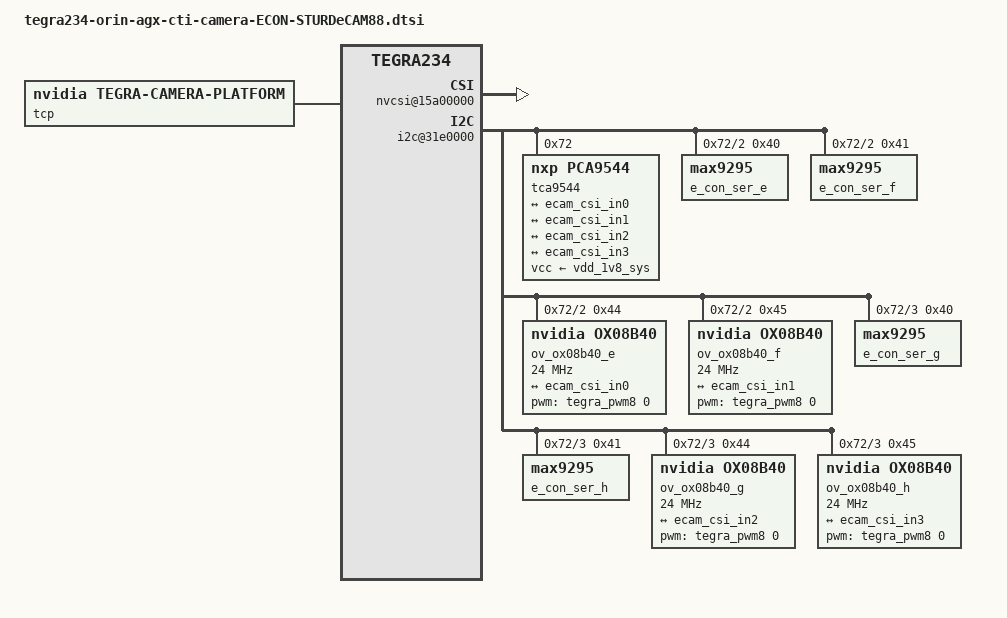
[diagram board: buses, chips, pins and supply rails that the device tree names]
#include "tegra234-orin-agx-cti-csi.dtsi"
#include "tegra234-orin-agx-cti-ECON-HEXCUXVR.dtsi"
#include <dt-bindings/media/camera.h> 
#include "dt-bindings/clock/tegra234-clock.h"


#define CAM_LANES 4
#define CAM_LANES_STRING "4"

#define PIX_CLK "276000000"
#define SERDES_PIX_CLK "300000000"

/ {
	tegra-capture-vi  {
            	num-channels = <4>;
            	#address-cells = <1>;
            	#size-cells = <0>;
            	status = "okay";
            	ports {
                	#address-cells = <1>;
                	#size-cells = <0>;    
                	status = "okay";
                	port@0 {
                    		reg = <0>;
                    		status = "okay";
                    		ecam_vi_in0: endpoint {
                        		status= "okay";
					devnode = "video0";
                        		vc-id = <0>;
                        		port-index = <2>;
                        		bus-width = <CAM_LANES>;
                        		remote-endpoint = <&ecam_csi_out0>;
                    		};
                	};
                
                	port@1 {
                    		reg = <1>;
                    		status = "okay";
                    		ecam_vi_in1: endpoint {
                        		status= "okay";
					devnode = "video1";
                        		vc-id = <1>;
                        		port-index = <2>;
                        		bus-width = <CAM_LANES>;
                        		remote-endpoint = <&ecam_csi_out1>;
                    		};
                	};
                
                	port@2 {
                    		reg = <2>;
                    		status = "okay";
                    		ecam_vi_in2: endpoint {
                        		status= "okay";
					devnode = "video2";
                        		vc-id = <0>;
                        		port-index = <0>;
                        		bus-width = <CAM_LANES>;
                        		remote-endpoint = <&ecam_csi_out2>;
                    		};
                	};
                
                	port@3 {
                    		reg = <3>;
                    		status = "okay";
                    		ecam_vi_in3: endpoint {
                        		status= "okay";
					devnode = "video3";
                        		vc-id = <1>;
                        		port-index = <0>;
                        		bus-width = <CAM_LANES>;
                        		remote-endpoint = <&ecam_csi_out3>;
                    		};
                	};
                
            	};
	};

    	host1x@13e00000 {
        	nvcsi@15a00000 {
            		num-channels = <4>;
            		#address-cells = <1>;
            		#size-cells = <0>;
            		status = "okay";
            		channel@0 {
                		reg = <0>;
                		status = "okay";
                		ports {
                    			#address-cells = <1>;
                    			#size-cells = <0>;
                    			port@0 {
                        			reg = <0>;
                        			status = "okay";
                        			ecam_csi_in0: endpoint@0 {
                            				status = "okay";
                            				port-index = <2>;
                            				bus-width = <CAM_LANES>;
                            				remote-endpoint = <&ecam_ox08b40_out0>;
                        			};
                    			};
                    			port@1 {
                        			reg = <1>;
                        			status = "okay";
                        			ecam_csi_out0: endpoint@1 {
                            				status = "okay";
                            				remote-endpoint = <&ecam_vi_in0>;
                        			};
                    			};
                		};
            		};

            		channel@1 {
                		reg = <1>;
                		status = "okay";
                		ports {
                    			#address-cells = <1>;
                    			#size-cells = <0>;
                    			port@0 {
                        			reg = <0>;
                        			status = "okay";
                        			ecam_csi_in1: endpoint@2 {
                            				status = "okay";
                            				port-index = <2>;
                            				bus-width = <CAM_LANES>;
                            				remote-endpoint = <&ecam_ox08b40_out1>;
                        			};
                    			};
                    			port@1 {
                        			reg = <1>;
                        			status = "okay";
                        			ecam_csi_out1: endpoint@3 {
                            				status = "okay";
                            				remote-endpoint = <&ecam_vi_in1>;
                        			};
                    			};
                		};
            		};

            		channel@2 {
                		reg = <2>;
                		status = "okay";
                		ports {
                    			#address-cells = <1>;
                    			#size-cells = <0>;
                    			port@0 {
                        			reg = <0>;
                        			status = "okay";
                        			ecam_csi_in2: endpoint@4 {
                            				status = "okay";
                            				port-index = <0>;
                            				bus-width = <CAM_LANES>;
                            				remote-endpoint = <&ecam_ox08b40_out2>;
                        			};
                    			};
                    			port@1 {
                        			reg = <1>;
                        			status = "okay";
                        			ecam_csi_out2: endpoint@5 {
                            				status = "okay";
                            				remote-endpoint = <&ecam_vi_in2>;
                        			};
                    			};
                		};
            		};

            		channel@3 {
                		reg = <3>;
                		status = "okay";
                		ports {
                    			#address-cells = <1>;
                    			#size-cells = <0>;
                    			port@0 {
                        			reg = <0>;
                        			status = "okay";
                        			ecam_csi_in3: endpoint@6 {
                            				status = "okay";
                            				port-index = <0>;
                            				bus-width = <CAM_LANES>;
                            				remote-endpoint = <&ecam_ox08b40_out3>;
                        			};
                    			};
                    			port@1 {
                        			reg = <1>;
                        			status = "okay";
                        			ecam_csi_out3: endpoint@7 {
                            				status = "okay";
                            				remote-endpoint = <&ecam_vi_in3>;
                        			};
                    			};
                		};
            		};
        	};
    	};


	i2c@31e0000 {
        	status = "okay";
        	#address-cells = <1>;
        	#size-cells = <0>;
        	tca9544@72 {
            		compatible = "nxp,pca9544";
            		reg = <0x72>;
            		#address-cells = <1>;
            		#size-cells = <0>;
            		vcc-supply = <&vdd_1v8_sys>;
            		skip_mux_detect;
            		force_bus_start = <0x28>;
            		status = "okay";
            		i2c@0 {
                		status = "okay";
                		reg = <0>;
                		i2c-mux,deselect-on-exit;
                		#address-cells = <1>;
                		#size-cells = <0>;
			};
			i2c@1 {
                		status = "okay";
                		reg = <1>;
                		i2c-mux,deselect-on-exit;
                		#address-cells = <1>;
                		#size-cells = <0>;
			};

            		i2c@2 {
                		status = "okay";
                		reg = <2>;
                		i2c-mux,deselect-on-exit;
                		#address-cells = <1>;
                		#size-cells = <0>;
				e_con_ser_e: max9295@40 {
					reg = <0x40>;
					def-addr = <0x40>;
					reset_reg = <0x02CA>;
					boot_reg = <0x02BE>;
				};

				e_con_ser_f: max9295@41 {
					reg = <0x41>;
					def-addr = <0x40>;
					reset_reg = <0x02CA>;
					boot_reg = <0x02BE>;
				};

				ov_ox08b40_e@44 {
					status = "okay";
					compatible = "nvidia,ox08b40";
					reg = <0x44>;
					sensor_model ="ox08b40";
					devnode = "video0";
					avdd-reg = "vana";
					iovdd-reg = "vif";
					clocks = <&bpmp TEGRA234_CLK_EXTPERIPH1>,
						<&bpmp TEGRA234_CLK_EXTPERIPH1>;
					clock-names = "extperiph1", "pllp_grtba";
					mclk = "extperiph1";
					clock-frequency = <24000000>;
					use_sensor_mode_id = "false";
					camera_mipi_lanes = <4>;
					camera-mipi-clk = <1104>;
					sio-port = "A";
					mcu_fw_name = "ox08b40_cam_fw.bin";
					dev_name = "ecam_yuv 42-0044";
					#pwm-cells = <1>;
 					pwms = <&tegra_pwm8 0 33898305>;
					nvidia,gmsl-ser-device = <&e_con_ser_e>;
#undef VC_ID
#undef TEGRA_SINTERFACE
#define TEGRA_SINTERFACE "serial_c"
#define VC_ID "0"
#include "sturdecam88_cuoagx_modes.dtsi"	
					ports {
						#address-cells = <1>;
						#size-cells = <0>;
						port@0 {
							reg = <0>;
							ecam_ox08b40_out0: endpoint {
								vc-id = <0>;
								port-index = <2>;
								bus-width = <CAM_LANES>;
								remote-endpoint = <&ecam_csi_in0>;
							};
						};
					};
				};

				ov_ox08b40_f@45 {
					status = "okay";
					compatible = "nvidia,ox08b40";
					reg = <0x45>;
					devnode = "video1";
					sensor_model ="ox08b40";
					avdd-reg = "vana";
					iovdd-reg = "vif";
					clocks = <&bpmp TEGRA234_CLK_EXTPERIPH1>,
						<&bpmp TEGRA234_CLK_EXTPERIPH1>;
					clock-names = "extperiph1", "pllp_grtba";
					mclk = "extperiph1";
					clock-frequency = <24000000>;
					use_sensor_mode_id = "false";
					camera_mipi_lanes = <4>;
					camera-mipi-clk = <1104>;
					sio-port = "B";
					mcu_fw_name = "ox08b40_cam_fw.bin";
					dev_name = "ecam_yuv 42-0045";
					#pwm-cells = <1>;
 					pwms = <&tegra_pwm8 0 33898305>;
					nvidia,gmsl-ser-device = <&e_con_ser_f>;
#undef VC_ID
#undef TEGRA_SINTERFACE
#define TEGRA_SINTERFACE "serial_c"
#define VC_ID "1"
#include "sturdecam88_cuoagx_modes.dtsi"	
					ports {
						#address-cells = <1>;
						#size-cells = <0>;
						port@0 {
							reg = <0>;
							ecam_ox08b40_out1: endpoint {
								vc-id = <1>;
								port-index = <2>;
								bus-width = <CAM_LANES>;
								remote-endpoint = <&ecam_csi_in1>;
							};
						};
					};

            			};
			};
            
            		i2c@3 {
                		status = "okay";
                		reg = <3>;
                		i2c-mux,deselect-on-exit;
                		#address-cells = <1>;
                		#size-cells = <0>;
				e_con_ser_g: max9295@40 {
					reg = <0x40>;
					def-addr = <0x40>;
					reset_reg = <0x02CA>;
					boot_reg = <0x02BE>;
				};

				e_con_ser_h: max9295@41 {
					reg = <0x41>;
					def-addr = <0x40>;
					reset_reg = <0x02CA>;
					boot_reg = <0x02BE>;
				};

				ov_ox08b40_g@44 {
					status = "okay";
					compatible = "nvidia,ox08b40";
					reg = <0x44>;
					devnode = "video2";
					sensor_model ="ox08b40";
					avdd-reg = "vana";
					iovdd-reg = "vif";
					clocks = <&bpmp TEGRA234_CLK_EXTPERIPH1>,
						<&bpmp TEGRA234_CLK_EXTPERIPH1>;
					clock-names = "extperiph1", "pllp_grtba";
					mclk = "extperiph1";
					clock-frequency = <24000000>;
					use_sensor_mode_id = "false";
					camera_mipi_lanes = <4>;
					camera-mipi-clk = <1104>;
					sio-port = "A";
					mcu_fw_name = "ox08b40_cam_fw.bin";
					dev_name = "ecam_yuv 43-0044";
					#pwm-cells = <1>;
 					pwms = <&tegra_pwm8 0 33898305>;
					nvidia,gmsl-ser-device = <&e_con_ser_g>;
#undef VC_ID
#undef TEGRA_SINTERFACE
#define TEGRA_SINTERFACE "serial_a"
#define VC_ID "0"
#include "sturdecam88_cuoagx_modes.dtsi"	
					ports {
						#address-cells = <1>;
						#size-cells = <0>;
						port@0 {
							reg = <0>;
							ecam_ox08b40_out2: endpoint {
								vc-id = <0>;
								port-index = <0>;
								bus-width = <CAM_LANES>;
								remote-endpoint = <&ecam_csi_in2>;
							};
						};
					};
				};

				ov_ox08b40_h@45 {
					status = "okay";
					compatible = "nvidia,ox08b40";
					reg = <0x45>;
					devnode = "video3";
					sensor_model ="ox08b40";
					avdd-reg = "vana";
					iovdd-reg = "vif";
					clocks = <&bpmp TEGRA234_CLK_EXTPERIPH1>,
						<&bpmp TEGRA234_CLK_EXTPERIPH1>;
					clock-names = "extperiph1", "pllp_grtba";
					mclk = "extperiph1";
					clock-frequency = <24000000>;
					use_sensor_mode_id = "false";
					camera_mipi_lanes = <4>;
					camera-mipi-clk = <1104>;
					sio-port = "B";
					mcu_fw_name = "ox08b40_cam_fw.bin";
					dev_name = "ecam_yuv 43-0045";
					#pwm-cells = <1>;
 					pwms = <&tegra_pwm8 0 33898305>;
					nvidia,gmsl-ser-device = <&e_con_ser_h>;
#undef VC_ID
#undef TEGRA_SINTERFACE
#define TEGRA_SINTERFACE "serial_a"
#define VC_ID "1"
#include "sturdecam88_cuoagx_modes.dtsi"	
					ports {
						#address-cells = <1>;
						#size-cells = <0>;
						port@0 {
							reg = <0>;
							ecam_ox08b40_out3: endpoint {
								vc-id = <1>;
								port-index = <0>;
								bus-width = <CAM_LANES>;
								remote-endpoint = <&ecam_csi_in3>;
							};
						};
					};
            			};
            		};
        	};
    	};


	tcp: tegra-camera-platform {
        	compatible = "nvidia, tegra-camera-platform";
        	num_csi_lanes = <16>;
        	max_lane_speed = <2500000>;
        	min_bits_per_pixel = <16>;
        	vi_peak_byte_per_pixel = <2>;
        	vi_bw_margin_pct = <67>;
        	max_pixel_rate = <750000>;
        	isp_peak_byte_per_pixel = <5>;
        	isp_bw_margin_pct = <25>;

        	modules {
            		module0 {
                		badge = "sturdecam88_cuoagx";
                		position = "topleft";
                		orientation = "1";
                		drivernode0 {
                    			pcl_id = "v4l2_sensor";
                    			devname = "ecam_yuv 42-0044";
                    			proc-device-tree = "/proc/device-tree/i2c@31e0000/tca9544@72/i2c@2/ov_ox08b40_e@44";
                    			status = "okay";
                		};
            		};
        
            		module1 {
                		badge = "sturdecam88_cuoagx";
                		position = "topright";
                		orientation = "1";
                		drivernode0 {
                    			pcl_id = "v4l2_sensor";
                    			devname = "ecam_yuv 42-0045";
                    			proc-device-tree = "/proc/device-tree/i2c@31e0000/tca9544@72/i2c@2/ov_ox08b40_f@45";
                    			status = "okay";
                		};
            		};

            		module2 {
                		badge = "sturdecam88_cuoagx";
                		position = "rear";
                		orientation = "1";
                		drivernode0 {
                    			pcl_id = "v4l2_sensor";
                    			devname = "ecam_yuv 43-0044";
                    			proc-device-tree = "/proc/device-tree/i2c@31e0000/tca9544@72/i2c@3/ov_ox08b40_g@44";
                    			status = "okay";
                		};
            		};

            		module3 {
                		badge = "sturdecam88_cuoagx";
                		position = "front";
                		orientation = "1";
                		drivernode0 {
                    			pcl_id = "v4l2_sensor";
                    			devname = "ecam_yuv 43-0045";
                    			proc-device-tree = "/proc/device-tree/i2c@31e0000/tca9544@72/i2c@3/ov_ox08b40_h@45";
                    			status = "okay";
                		};
            		};
        	};
	};
};
